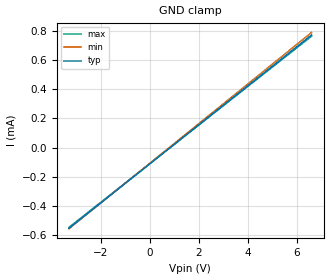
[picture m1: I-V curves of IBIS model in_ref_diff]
| [Disclaimer]
| Silicon Labs Incorporated hereby grants the user of this IBIS
| model a personal, non-exclusive, non-transferable license to use
| this IBIS model under the following terms. Before using this
| IBIS model, the user should read and agree with this license. If
| the user does not accept these terms, the user should not use
| the IBIS model and the IBIS model should be promptly returned to
| Silicon Labs within 30 days. The user is granted this license
| only to use the IBIS model and is not granted rights to sell,
| load, rent, lease or license the IBIS model in whole or in part,
| or in modified form to anyone. User may modify the IBIS model to
| suit its specific applications, rights to derivative works and
| such modifications shall belong and are hereby assigned to
| Silicon Labs. This IBIS model is provided on an "as is" basis
| and Silicon Labs makes absolutely no warranty with respect to
| the IBIS model and the information contained herein. Silicon
| Labs disclaims and customer waives all warranties, express or
| implied, including warranties to merchantability or fitness for
| a particular purpose. The entire risk as to quality and
| performance is with the customer. Accordingly, in no event shall
| the company be liable for any damages, whether in contract or
| tort, including any lost profits or other incidental,
| consequential, exemplary, or punitive damages arising out of the
| use or application of the IBIS model provided in this package.
| Further, Silicon Labs reserves the right to make changes without
| notice to any product herein to improve reliability, function,
| or design. Silicon Laboratories does not convey any license
| under patent rights or any other intellectual property rights,
| including those of third parties. Silicon Labs is not obligated
| to provide maintenance or support for the licensed IBIS model.
| [Copyright]  (c) 2016, Silicon Labs, Inc.
| From si5340.ibs, SI5340, Silicon Labs
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[Model] in_ref_diff
Model_type Input
Vinl = 330.000mV
Vinh = 800.000mV
C_comp 1.30000pF 1.30000pF 1.30000pF
| variable typ   min   max
[Voltage Range] 3.30000V 3.13500V 3.46500V
[POWER Clamp Reference] 3.30000V 3.13500V 3.46500V
[GND Clamp Reference] 0.00000V 0.00000V 0.00000V
[Temperature Range]   25   85   -40
[GND Clamp]
-3.3V     -552.8uA   -555.6uA   -546.3uA
829mV     -325.1nA   5.32uA     0A
832mV     0A         5.65uA     321.5nA
6.6V      771.8uA    789.3uA    763.5uA
[POWER Clamp]
-3.3V     0A         0A         0A
6.6V      0A         0A         0A
